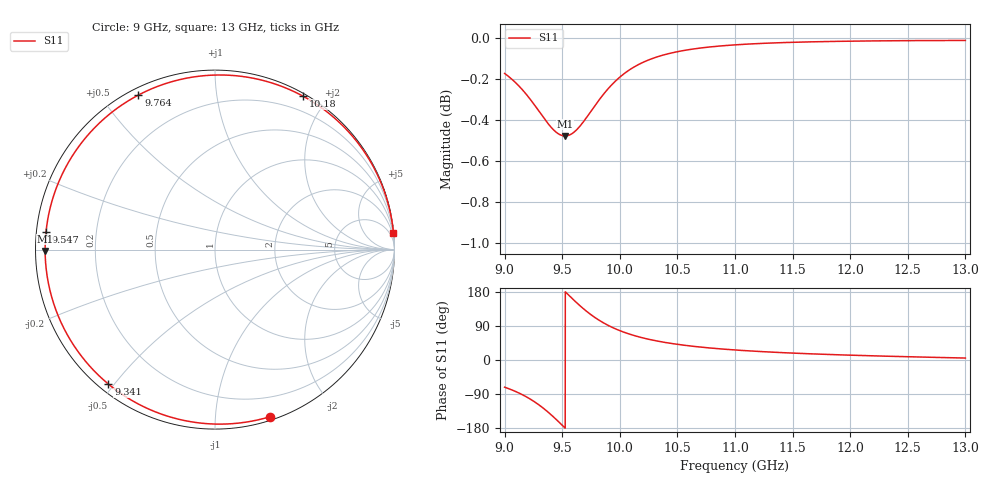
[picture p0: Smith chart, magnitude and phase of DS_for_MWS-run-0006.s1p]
! TOUCHSTONE file generated by CST DESIGN STUDIO
! Date and time: Tue Feb  4 13:48:49 2025
! Project name: C:\Work\MatlabApps\UnitCellOptimizationMatlab\CST\unitcell.cst
! Tree item: Tasks\Sweep1\SPara1\S-Parameters
! Header version: 2024
! Port assignment regex: !\s*Touchstone port\s*([0-9]+)\s*=\s*(CST MWS port|CST DES external port|CST DES block port)\s*(.+)\s* \(\"(.*)\"\)(\s*mode\s*([0-9]+))?.*
! Touchstone port assignment:
! Touchstone port 1 = CST DES external port 1 ("")
# GHz S MA R 50
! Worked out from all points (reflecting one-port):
!   4001 points, 9 GHz to 13 GHz, reference 50 ohm
!   lowest |S11| = -0.5 dB at 9.525 GHz (marker M1), VSWR 36.41, Z = 1.37 - j0.207 ohm
!   phase of S11 starts at -72 deg and turns -283 deg over the sweep
!   S11 on the Smith chart (normalised r, x): 9 GHz: 0.03, -1.38; 9.341 GHz: 0.03, -0.48; 9.547 GHz: 0.03, +0.05; 9.764 GHz: 0.03, +0.62; 10.18 GHz: 0.03, +1.72; 13 GHz: 0, +22
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9  0.9802 -71.7
9.094  0.9753 -82.9
9.2  0.9679 -99.1
9.274  0.9618 -113.3
9.341  0.956 -128.4
9.384  0.9526 -139.3
9.429  0.9495 -151.5
9.5  0.9468 -172.1
9.525  0.9465 -179.5
9.547  0.9467 173.9
9.601  0.9485 158.1
9.661  0.9523 141.4
9.712  0.9564 128.4
9.764  0.961 116.4
9.813  0.9652 106.3
9.867  0.9696 96.5
9.933  0.9742 86.3
10  0.9782 77.5
10.084  0.9822 68.3
10.175  0.9855 60.3
10.323  0.9893 50.2
10.5  0.9922 41.3
10.721  0.9944 33.5
11  0.996 26.5
11.5  0.9975 18.2
12  0.9981 12.7
12.5  0.9984 8.6
13  0.9985 5.2
